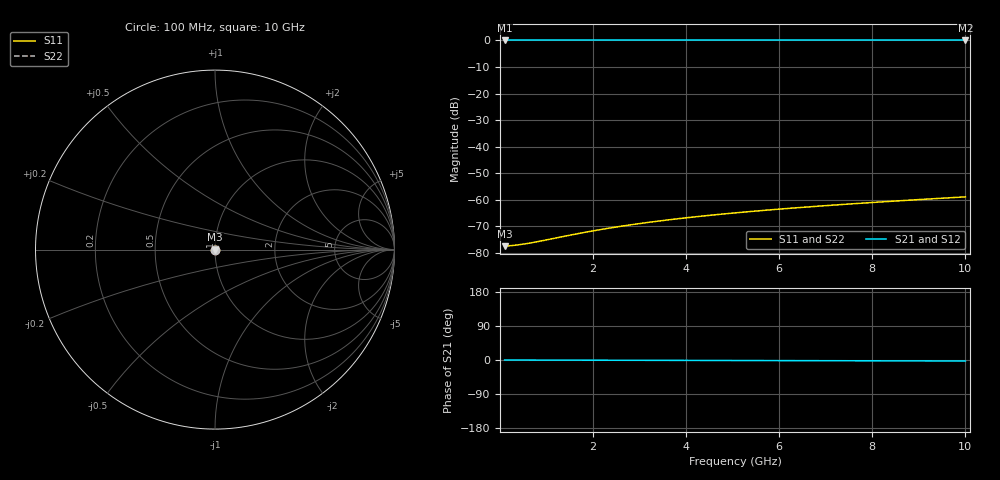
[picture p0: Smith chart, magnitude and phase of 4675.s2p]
# Hz S RI R 50.00
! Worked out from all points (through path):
!   100 points, 100 MHz to 10 GHz, reference 50 ohm
!   highest |S21| = 0.00 dB at 100 MHz (marker M1); lowest = 0.0 dB at 10 GHz (marker M2)
!   lowest |S11| = -77.5 dB at 100 MHz (marker M3), VSWR 1.00, Z = 50 + j0.00111 ohm
!   |S11| at or under -10 dB: start of sweep to end of sweep
!   |S22| runs from -77.5 to -58.9 dB; largest |S21 - S12| = 0
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1e8  0.000134 1.11e-05  0.9999 -0.000462  0.9999 -0.000462  0.000134 1.11e-05
2e8  0.000134 2.23e-05  0.9999 -0.000925  0.9999 -0.000925  0.000134 2.23e-05
3e8  0.000135 3.34e-05  0.9999 -0.00139  0.9999 -0.00139  0.000135 3.34e-05
4e8  0.000135 4.45e-05  0.9999 -0.00185  0.9999 -0.00185  0.000135 4.45e-05
6e8  0.000136 6.67e-05  0.9999 -0.00277  0.9999 -0.00277  0.000136 6.67e-05
9e8  0.000136 9.99e-05  0.9999 -0.00416  0.9999 -0.00416  0.000136 9.99e-05
1.5e9  0.000137 0.000166  0.9998 -0.00694  0.9998 -0.00694  0.000137 0.000166
1.8e9  0.000138 0.000199  0.9998 -0.00833  0.9998 -0.00833  0.000138 0.000199
2.2e9  0.000139 0.000242  0.9998 -0.0102  0.9998 -0.0102  0.000139 0.000242
2.6e9  0.00014 0.000285  0.9998 -0.012  0.9998 -0.012  0.00014 0.000285
3e9  0.000141 0.000328  0.9998 -0.0139  0.9998 -0.0139  0.000141 0.000328
3.4e9  0.000142 0.000371  0.9997 -0.0158  0.9997 -0.0158  0.000142 0.000371
3.8e9  0.000143 0.000414  0.9997 -0.0176  0.9997 -0.0176  0.000143 0.000414
4.2e9  0.000144 0.000456  0.9997 -0.0195  0.9997 -0.0195  0.000144 0.000456
4.6e9  0.000146 0.000499  0.9996 -0.0213  0.9996 -0.0213  0.000146 0.000499
5.1e9  0.000148 0.000552  0.9996 -0.0237  0.9996 -0.0237  0.000148 0.000552
5.9e9  0.000152 0.000639  0.9995 -0.0274  0.9995 -0.0274  0.000152 0.000639
6.7e9  0.000157 0.000727  0.9993 -0.0312  0.9993 -0.0312  0.000157 0.000727
7.5e9  0.000162 0.000816  0.9992 -0.0349  0.9992 -0.0349  0.000162 0.000816
8.4e9  0.00017 0.000921  0.9991 -0.0392  0.9991 -0.0392  0.00017 0.000921
9.2e9  0.000177 0.00102  0.9989 -0.0429  0.9989 -0.0429  0.000177 0.00102
1e10  0.000185 0.00112  0.9987 -0.0467  0.9987 -0.0467  0.000185 0.00112
